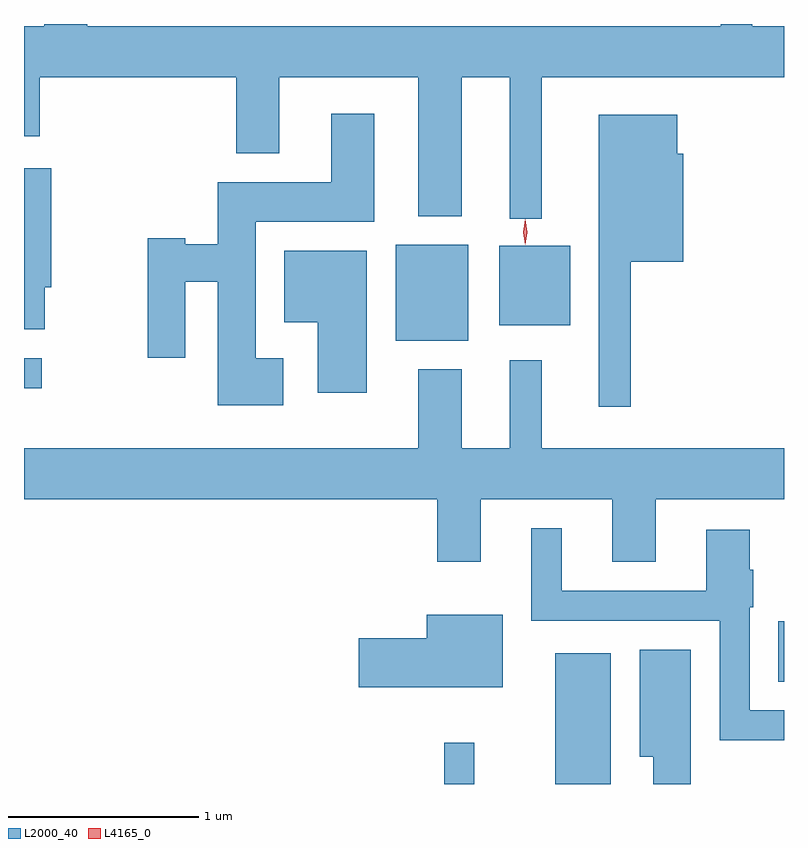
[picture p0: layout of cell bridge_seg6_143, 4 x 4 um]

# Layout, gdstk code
import gdstk
lib = gdstk.Library(unit=1e-6, precision=1e-09)
def R(c, l, rs):  # rectangles x0, y0, x1, y1
    for r in rs: c.add(gdstk.rectangle(r[:2], r[2:], *l))
def P(c, l, *ps):  # polygons
    for p in ps: c.add(gdstk.Polygon(p, *l))
L2000_40 = (2000, 40)
L4165_0 = (4165, 0)

bridge_seg6_143 = lib.new_cell('bridge_seg6_143')
R(bridge_seg6_143, L2000_40, [(1025.676,1608.477,1025.834,1608.693), (1026.261,1608.477,1026.554,1609.164), (1027.436,1609.016,1027.465,1609.334), (1023.465,1610.561,1023.558,1610.719), (1025.421,1610.811,1025.804,1611.314), (1025.966,1610.891,1026.339,1611.309)])
P(bridge_seg6_143, L2000_40, [(1026.189,1612.196),(1027.465,1612.196),(1027.465,1612.464),(1027.299,1612.464),(1027.299,1612.477),(1027.131,1612.477),(1027.131,1612.464),(1023.799,1612.464),(1023.799,1612.477),(1023.571,1612.477),(1023.571,1612.464),(1023.465,1612.464),(1023.465,1611.886),(1023.549,1611.886),(1023.549,1612.196),(1024.581,1612.196),(1024.581,1611.796),(1024.809,1611.796),(1024.809,1612.196),(1025.541,1612.196),(1025.541,1611.466),(1025.769,1611.466),(1025.769,1612.196),(1026.021,1612.196),(1026.021,1611.453),(1026.189,1611.453)],
  [(1024.829,1610.719),(1024.684,1610.719),(1024.684,1611.436),(1025.309,1611.436),(1025.309,1612.004),(1025.081,1612.004),(1025.081,1611.644),(1024.486,1611.644),(1024.486,1611.319),(1024.314,1611.319),(1024.314,1611.349),(1024.116,1611.349),(1024.116,1610.721),(1024.314,1610.721),(1024.314,1611.121),(1024.486,1611.121),(1024.486,1610.471),(1024.829,1610.471)],
  [(1026.659,1611.226),(1026.934,1611.226),(1026.934,1611.794),(1026.904,1611.794),(1026.904,1611.999),(1026.491,1611.999),(1026.491,1610.463),(1026.659,1610.463)],
  [(1023.574,1611.091),(1023.609,1611.091),(1023.609,1611.719),(1023.465,1611.719),(1023.465,1610.871),(1023.574,1610.871)],
  [(1025.269,1611.284),(1024.836,1611.284),(1024.836,1610.906),(1025.011,1610.906),(1025.011,1610.536),(1025.269,1610.536)],
  [(1025.869,1609.976),(1026.561,1609.976),(1026.561,1609.646),(1026.789,1609.646),(1026.789,1609.976),(1027.465,1609.976),(1027.465,1610.244),(1026.189,1610.244),(1026.189,1610.708),(1026.021,1610.708),(1026.021,1610.244),(1025.769,1610.244),(1025.769,1610.659),(1025.541,1610.659),(1025.541,1610.244),(1023.465,1610.244),(1023.465,1609.976),(1025.641,1609.976),(1025.641,1609.646),(1025.869,1609.646)],
  [(1027.465,1608.864),(1027.284,1608.864),(1027.284,1609.406),(1027.304,1609.406),(1027.304,1609.604),(1027.284,1609.604),(1027.284,1609.814),(1027.056,1609.814),(1027.056,1609.494),(1026.294,1609.494),(1026.294,1609.823),(1026.136,1609.823),(1026.136,1609.336),(1027.126,1609.336),(1027.126,1608.706),(1027.465,1608.706)],
  [(1025.984,1609.369),(1025.586,1609.369),(1025.586,1609.244),(1025.226,1609.244),(1025.226,1608.986),(1025.984,1608.986)],
  [(1026.974,1609.184),(1026.706,1609.184),(1026.706,1608.621),(1026.776,1608.621),(1026.776,1608.477),(1026.974,1608.477)])
P(bridge_seg6_143, L4165_0, [(1026.102,1611.314),(1026.093,1611.382),(1026.102,1611.45),(1026.103,1611.45),(1026.103,1611.45),(1026.113,1611.382),(1026.103,1611.314),(1026.103,1611.314)],
  [(1026.102,1611.318),(1026.093,1611.382),(1026.102,1611.447),(1026.103,1611.447),(1026.103,1611.447),(1026.113,1611.382),(1026.103,1611.318),(1026.103,1611.318)])

lib.write_gds('bridge_seg6_143.gds')
